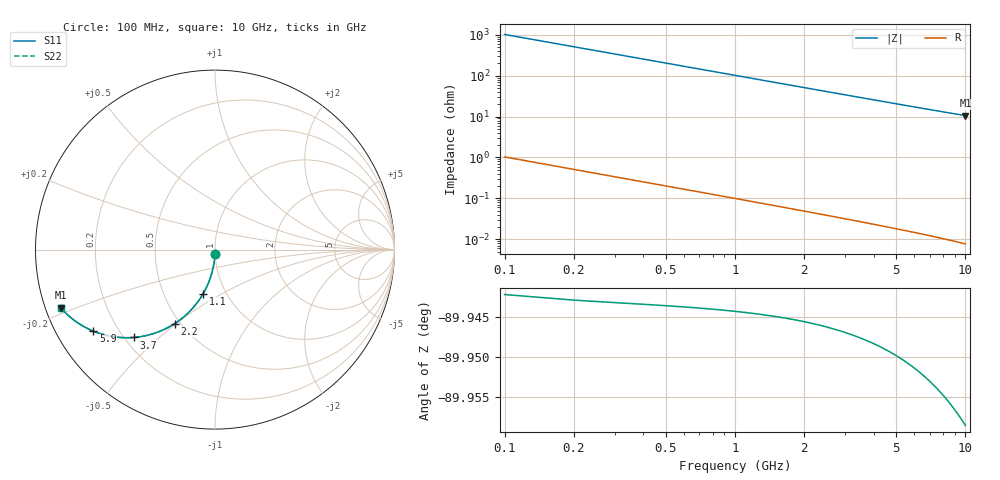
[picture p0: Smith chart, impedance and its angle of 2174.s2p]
# Hz S RI R 50.00
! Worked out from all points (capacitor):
!   100 points, 100 MHz to 10 GHz, reference 50 ohm
!   read as one part in shunt: C = 1.56 pF near 100 MHz
!   lowest |Z| = 10.6 ohm at 10 GHz (marker M1)
!   S11 on the Smith chart (normalised r, x): 100 MHz: 1.00, -0.05; 1.1 GHz: 0.78, -0.41; 2.2 GHz: 0.47, -0.49; 3.7 GHz: 0.24, -0.42; 5.9 GHz: 0.11, -0.30; 10 GHz: 0.04, -0.18
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1e8  -0.000506 -0.0243  0.9993 -0.0247  0.9993 -0.0247  -0.000506 -0.0243
2e8  -0.00232 -0.0484  0.9974 -0.0492  0.9974 -0.0492  -0.00232 -0.0484
3e8  -0.00532 -0.0724  0.9944 -0.0737  0.9944 -0.0737  -0.00532 -0.0724
4e8  -0.00947 -0.0961  0.9903 -0.0978  0.9903 -0.0978  -0.00947 -0.0961
5e8  -0.0148 -0.1195  0.985 -0.1216  0.985 -0.1216  -0.0148 -0.1195
6e8  -0.0211 -0.1425  0.9786 -0.145  0.9786 -0.145  -0.0211 -0.1425
7e8  -0.0286 -0.1649  0.9712 -0.1679  0.9712 -0.1679  -0.0286 -0.1649
9e8  -0.0464 -0.2082  0.9534 -0.2119  0.9534 -0.2119  -0.0464 -0.2082
1.1e9  -0.0677 -0.2487  0.932 -0.2533  0.932 -0.2533  -0.0677 -0.2487
1.4e9  -0.1053 -0.3036  0.8945 -0.3095  0.8945 -0.3095  -0.1053 -0.3036
1.8e9  -0.1628 -0.365  0.8369 -0.3726  0.8369 -0.3726  -0.1628 -0.365
2.2e9  -0.2251 -0.4127  0.7746 -0.4219  0.7746 -0.4219  -0.2251 -0.4127
2.8e9  -0.3201 -0.4602  0.6795 -0.4719  0.6795 -0.4719  -0.3201 -0.4602
3.4e9  -0.41 -0.4842  0.5897 -0.4985  0.5897 -0.4985  -0.41 -0.4842
3.7e9  -0.4516 -0.4894  0.5481 -0.5049  0.5481 -0.5049  -0.4516 -0.4894
4.4e9  -0.5383 -0.4887  0.4613 -0.5072  0.4613 -0.5072  -0.5383 -0.4887
5.1e9  -0.6108 -0.4762  0.3887 -0.4977  0.3887 -0.4977  -0.6108 -0.4762
5.9e9  -0.6779 -0.4542  0.3215 -0.4791  0.3215 -0.4791  -0.6779 -0.4542
6.7e9  -0.7313 -0.4284  0.268 -0.4568  0.268 -0.4568  -0.7313 -0.4284
7.5e9  -0.7738 -0.4016  0.2254 -0.4335  0.2254 -0.4335  -0.7738 -0.4016
8.4e9  -0.8116 -0.3722  0.1875 -0.4081  0.1875 -0.4081  -0.8116 -0.3722
1e10  -0.8601 -0.3241  0.1387 -0.3672  0.1387 -0.3672  -0.8601 -0.3241
